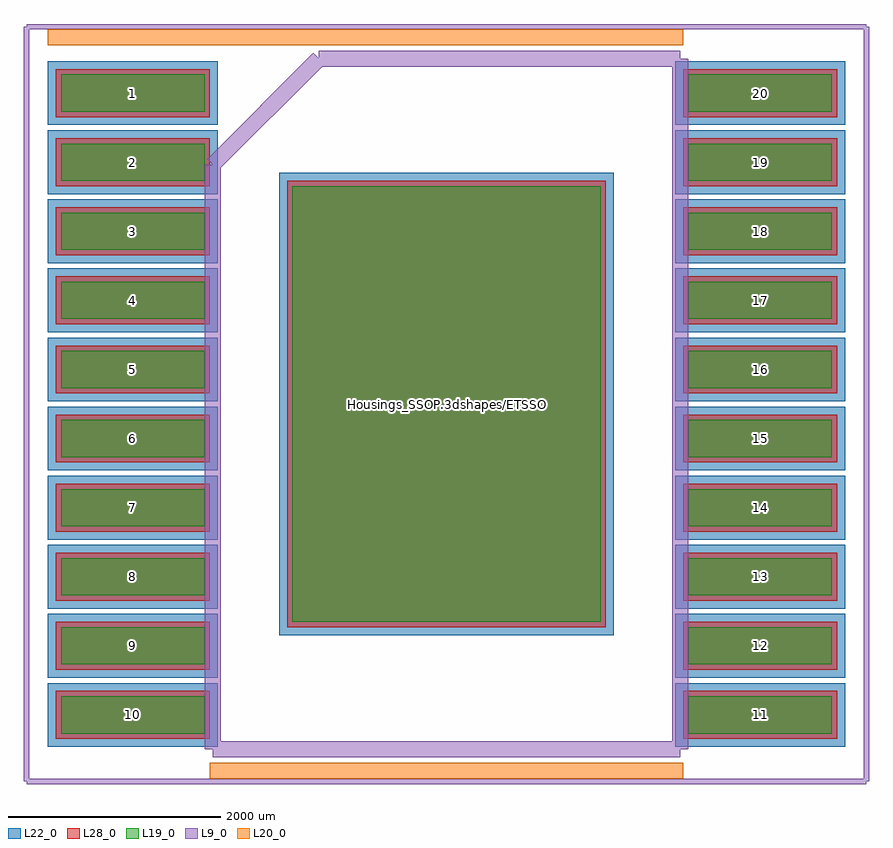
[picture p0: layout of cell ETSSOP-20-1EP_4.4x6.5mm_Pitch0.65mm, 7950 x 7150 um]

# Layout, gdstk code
import gdstk
lib = gdstk.Library(unit=1e-6, precision=1e-09)
def R(c, l, rs):  # rectangles x0, y0, x1, y1
    for r in rs: c.add(gdstk.rectangle(r[:2], r[2:], *l))
def A(c, l, x, y, w, h, nx, ny, dx, dy):  # array of equal rectangles
    R(c, l, [(x+i*dx, y+j*dy, x+i*dx+w, y+j*dy+h) for i in range(nx) for j in range(ny)])
L9_0 = (9, 0)
L19_0 = (19, 0)
L20_0 = (20, 0)
L22_0 = (22, 0)
L28_0 = (28, 0)

etssop_20_1ep_4_4x6_5mm_ = lib.new_cell('ETSSOP-20-1EP_4.4x6.5mm_Pitch0.65mm')
A(etssop_20_1ep_4_4x6_5mm_, L19_0, -3625, -3100, 1350, 350, 1, 10, 0, 650)
A(etssop_20_1ep_4_4x6_5mm_, L19_0, 2275, -3100, 1350, 350, 1, 10, 0, 650)
R(etssop_20_1ep_4_4x6_5mm_, L19_0, [(-1450,-2050,1450,2050)])
A(etssop_20_1ep_4_4x6_5mm_, L22_0, -3750, -3225, 1600, 600, 1, 10, 0, 650)
A(etssop_20_1ep_4_4x6_5mm_, L22_0, 2150, -3225, 1600, 600, 1, 10, 0, 650)
R(etssop_20_1ep_4_4x6_5mm_, L22_0, [(-1575,-2175,1575,2175)])
A(etssop_20_1ep_4_4x6_5mm_, L28_0, -3675, -3150, 1450, 450, 1, 10, 0, 650)
A(etssop_20_1ep_4_4x6_5mm_, L28_0, 2225, -3150, 1450, 450, 1, 10, 0, 650)
R(etssop_20_1ep_4_4x6_5mm_, L28_0, [(-1500,-2100,1500,2100)])
etssop_20_1ep_4_4x6_5mm_.add(gdstk.FlexPath([(-3750,3450),(2225,3450)], 149.998, ends="flush", simple_path=True, layer=20, datatype=0))  # L20_0
etssop_20_1ep_4_4x6_5mm_.add(gdstk.FlexPath([(-2225,-3450),(2225,-3450)], 149.998, ends="flush", simple_path=True, layer=20, datatype=0))  # L20_0
etssop_20_1ep_4_4x6_5mm_.add(gdstk.FlexPath([(-3950,-3550),(3950,-3550)], 50, ends="flush", simple_path=True, layer=9, datatype=0))  # L9_0
etssop_20_1ep_4_4x6_5mm_.add(gdstk.FlexPath([(-3950,3550),(3950,3550)], 50, ends="flush", simple_path=True, layer=9, datatype=0))  # L9_0
etssop_20_1ep_4_4x6_5mm_.add(gdstk.FlexPath([(3950,3550),(3950,-3550)], 50, ends="flush", simple_path=True, layer=9, datatype=0))  # L9_0
etssop_20_1ep_4_4x6_5mm_.add(gdstk.FlexPath([(-3950,3550),(-3950,-3550)], 50, ends="flush", simple_path=True, layer=9, datatype=0))  # L9_0
etssop_20_1ep_4_4x6_5mm_.add(gdstk.FlexPath([(-2200,2250),(-1200,3250)], 149.998, ends="flush", simple_path=True, layer=9, datatype=0))  # L9_0
etssop_20_1ep_4_4x6_5mm_.add(gdstk.FlexPath([(-2200,-3250),(-2200,2250)], 149.998, ends="flush", simple_path=True, layer=9, datatype=0))  # L9_0
etssop_20_1ep_4_4x6_5mm_.add(gdstk.FlexPath([(2200,-3250),(-2200,-3250)], 149.998, ends="flush", simple_path=True, layer=9, datatype=0))  # L9_0
etssop_20_1ep_4_4x6_5mm_.add(gdstk.FlexPath([(2200,3250),(2200,-3250)], 149.998, ends="flush", simple_path=True, layer=9, datatype=0))  # L9_0
etssop_20_1ep_4_4x6_5mm_.add(gdstk.FlexPath([(-1200,3250),(2200,3250)], 149.998, ends="flush", simple_path=True, layer=9, datatype=0))  # L9_0
etssop_20_1ep_4_4x6_5mm_.add(gdstk.Label('Housings_SSOP.3dshapes/ETSSOP-20-1EP_4.4x6.5mm_Pitch0.65mm.wrl', (0,0), layer=12, texttype=0))
etssop_20_1ep_4_4x6_5mm_.add(gdstk.Label('21', (0,0), layer=28, texttype=0))
etssop_20_1ep_4_4x6_5mm_.add(gdstk.Label('20', (2950,2925), layer=28, texttype=0))
etssop_20_1ep_4_4x6_5mm_.add(gdstk.Label('19', (2950,2275), layer=28, texttype=0))
etssop_20_1ep_4_4x6_5mm_.add(gdstk.Label('18', (2950,1625), layer=28, texttype=0))
etssop_20_1ep_4_4x6_5mm_.add(gdstk.Label('17', (2950,975), layer=28, texttype=0))
etssop_20_1ep_4_4x6_5mm_.add(gdstk.Label('16', (2950,325), layer=28, texttype=0))
etssop_20_1ep_4_4x6_5mm_.add(gdstk.Label('15', (2950,-325), layer=28, texttype=0))
etssop_20_1ep_4_4x6_5mm_.add(gdstk.Label('14', (2950,-975), layer=28, texttype=0))
etssop_20_1ep_4_4x6_5mm_.add(gdstk.Label('13', (2950,-1625), layer=28, texttype=0))
etssop_20_1ep_4_4x6_5mm_.add(gdstk.Label('12', (2950,-2275), layer=28, texttype=0))
etssop_20_1ep_4_4x6_5mm_.add(gdstk.Label('11', (2950,-2925), layer=28, texttype=0))
etssop_20_1ep_4_4x6_5mm_.add(gdstk.Label('10', (-2950,-2925), layer=28, texttype=0))
etssop_20_1ep_4_4x6_5mm_.add(gdstk.Label('9', (-2950,-2275), layer=28, texttype=0))
etssop_20_1ep_4_4x6_5mm_.add(gdstk.Label('8', (-2950,-1625), layer=28, texttype=0))
etssop_20_1ep_4_4x6_5mm_.add(gdstk.Label('7', (-2950,-975), layer=28, texttype=0))
etssop_20_1ep_4_4x6_5mm_.add(gdstk.Label('6', (-2950,-325), layer=28, texttype=0))
etssop_20_1ep_4_4x6_5mm_.add(gdstk.Label('5', (-2950,325), layer=28, texttype=0))
etssop_20_1ep_4_4x6_5mm_.add(gdstk.Label('4', (-2950,975), layer=28, texttype=0))
etssop_20_1ep_4_4x6_5mm_.add(gdstk.Label('3', (-2950,1625), layer=28, texttype=0))
etssop_20_1ep_4_4x6_5mm_.add(gdstk.Label('2', (-2950,2275), layer=28, texttype=0))
etssop_20_1ep_4_4x6_5mm_.add(gdstk.Label('1', (-2950,2925), layer=28, texttype=0))
etssop_20_1ep_4_4x6_5mm_.add(gdstk.Label('type', (0,-4400), layer=9, texttype=0))
etssop_20_1ep_4_4x6_5mm_.add(gdstk.Label('devicename', (0,4300), layer=9, texttype=0))

lib.write_gds('ETSSOP-20-1EP_4.4x6.5mm_Pitch0.65mm.gds')
